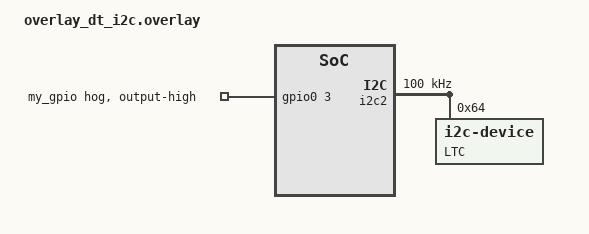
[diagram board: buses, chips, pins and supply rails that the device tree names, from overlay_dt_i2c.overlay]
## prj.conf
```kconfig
#
# Copyright (c) 2022 Nordic Semiconductor ASA
#
# SPDX-License-Identifier: LicenseRef-Nordic-5-Clause
#

# Log level
# For more verbose and detailed log output, set the log level to
# CONFIG_MULTI_SERVICE_LOG_LEVEL_DBG=y instead.
CONFIG_MULTI_SERVICE_LOG_LEVEL_INF=y

# General config
CONFIG_EVENTS=y
CONFIG_PICOLIBC_IO_FLOAT=y
CONFIG_RESET_ON_FATAL_ERROR=y
CONFIG_NCS_SAMPLES_DEFAULTS=y
CONFIG_DK_LIBRARY=y

# LED indication
# Uncomment these to minimize LED state indication when power savings are necessary
# CONFIG_LED_VERBOSE_INDICATION=n
# CONFIG_LED_CONTINUOUS_INDICATION=n

# Or, uncomment this to completely disable LED state indication
# CONFIG_LED_INDICATION_DISABLED=y

# Improved Logging
# CONFIG_LOG_MODE_DEFERRED allows logging from multiple threads simultaneously without creating
# splintered log entries, at the cost of needing a buffer for storing logs.
CONFIG_LOG_MODE_DEFERRED=y

# CONFIG_LOG_BUFFER_SIZE is the aforementioned buffer. A size of 4096 bytes is useful for debugging
# and prototyping, but is probably more than necessary for production-ready firmware.
CONFIG_LOG_BUFFER_SIZE=1024

# Heap and stacks
# Extended AT host/monitor stack/heap sizes since some nrf_cloud credentials are longer than 1024 bytes.
CONFIG_AT_MONITOR_HEAP_SIZE=2048
CONFIG_AT_HOST_STACK_SIZE=2048
# Extended memory heap size needed both for PGPS and for encoding JSON-based nRF Cloud Device Messages.
CONFIG_HEAP_MEM_POOL_SIZE=19000
CONFIG_SYSTEM_WORKQUEUE_STACK_SIZE=4096
# The default modem shared memory buffer for TX is significantly larger than required.
# RX buffer has to be larger because the sample reads certificates so using default value.
# CONFIG_NRF_MODEM_LIB_SHMEM_TX_SIZE=4096
CONFIG_NRF_MODEM_LIB_SHMEM_TX_SIZE=1024

# Enable Networking and Connection Manager.
CONFIG_NETWORKING=y
CONFIG_NET_SOCKETS=y
CONFIG_NET_SOCKETS_OFFLOAD=y
CONFIG_NET_MGMT_EVENT_STACK_SIZE=1024
CONFIG_NET_CONNECTION_MANAGER_MONITOR_STACK_SIZE=1024
CONFIG_MAIN_STACK_SIZE=2048

# Enable LTE Connectivity using Connection Manager
CONFIG_NET_IPV4=y
CONFIG_NET_IPV6=y
CONFIG_NET_IPV6_NBR_CACHE=n
CONFIG_NET_IPV6_MLD=n
CONFIG_NET_CONNECTION_MANAGER=y
CONFIG_NRF_MODEM_LIB_NET_IF=y
CONFIG_NRF_MODEM_LIB_NET_IF_AUTO_DOWN=y
CONFIG_NRF_MODEM_LIB_NET_IF_DOWN_DEFAULT_LTE_DISCONNECT=y

# Enable power savings mode
CONFIG_LTE_PSM_REQ=y
# Set the PSM Requested Active Time to 20 seconds
CONFIG_LTE_PSM_REQ_RAT="00001010"

# Modem library
CONFIG_NRF_MODEM_LIB=y

# AT commands interface
CONFIG_UART_INTERRUPT_DRIVEN=y
CONFIG_AT_HOST_LIBRARY=y

# Wait for credential installation to be complete before connecting to nRF Cloud
CONFIG_NRF_CLOUD_CHECK_CREDENTIALS=y

# nRF Cloud
CONFIG_NRF_CLOUD=y
CONFIG_NRF_CLOUD_MQTT=y # This also enables FOTA by implicitly setting CONFIG_NRF_CLOUD_FOTA=y

# MQTT
CONFIG_MQTT_KEEPALIVE=120

# MCUBOOT - Needed by FOTA
CONFIG_BOOTLOADER_MCUBOOT=y
CONFIG_IMG_MANAGER=y
CONFIG_MCUBOOT_IMG_MANAGER=y
CONFIG_STREAM_FLASH_ERASE=y

# Location Services configuration
CONFIG_LOCATION=y
CONFIG_LOCATION_METHOD_GNSS=y
CONFIG_LOCATION_METHOD_CELLULAR=y
CONFIG_NRF_CLOUD_AGNSS=y
CONFIG_NRF_CLOUD_LOCATION=y
CONFIG_MODEM_INFO=y
CONFIG_MODEM_INFO_ADD_NETWORK=y
CONFIG_NRF_CLOUD_PGPS=y
CONFIG_NRF_CLOUD_PGPS_REPLACEMENT_THRESHOLD=4
CONFIG_NRF_CLOUD_PGPS_REQUEST_UPON_INIT=y

# Date Time lib - Used by PGPS and main application
CONFIG_DATE_TIME=y

# LTE link control - used by PGPS and main application
CONFIG_LTE_LINK_CONTROL=y
CONFIG_LTE_LC_EDRX_MODULE=y
CONFIG_LTE_LC_PSM_MODULE=y

# Settings - used by nRF Cloud library and PGPS
CONFIG_SETTINGS=y
CONFIG_SETTINGS_FCB=y
CONFIG_FCB=y

# Download Client - used by FOTA and PGPS
CONFIG_DOWNLOADER=y
CONFIG_DOWNLOADER_STACK_SIZE=4352
CONFIG_DOWNLOADER_MAX_HOSTNAME_SIZE=128

# Flash - Used by FOTA and PGPS
CONFIG_FLASH=y
CONFIG_FLASH_PAGE_LAYOUT=y
CONFIG_FLASH_MAP=y
CONFIG_STREAM_FLASH=y
CONFIG_MPU_ALLOW_FLASH_WRITE=y
CONFIG_PM_EXTERNAL_FLASH_MCUBOOT_SECONDARY=n
CONFIG_NRF_CLOUD_ALERT=y
CONFIG_NRF_CLOUD_LOG_DIRECT=y
CONFIG_NRF_CLOUD_LOG_OUTPUT_LEVEL=3

# On initial connection to the cloud, add info sections to the shadow
CONFIG_NRF_CLOUD_SEND_DEVICE_STATUS=y
CONFIG_NRF_CLOUD_SEND_DEVICE_STATUS_NETWORK=y
CONFIG_NRF_CLOUD_SEND_DEVICE_STATUS_SIM=y
CONFIG_NRF_CLOUD_SEND_SERVICE_INFO_FOTA=y
CONFIG_NRF_CLOUD_SEND_SERVICE_INFO_UI=y


# Eren configuration
CONFIG_SENSOR_SAMPLE_INTERVAL_SECONDS=120
CONFIG_SERIAL=y
CONFIG_CONSOLE=y
CONFIG_UART_CONSOLE=y

# CONFIG_GPIO=y
# CONFIG_I2C=y

# CONFIG_SHELL=y
# CONFIG_I2C_SHELL=y
```

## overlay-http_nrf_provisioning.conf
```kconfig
#
# Copyright (c) 2023 Nordic Semiconductor ASA
#
# SPDX-License-Identifier: LicenseRef-Nordic-5-Clause
#

# Enable provisioning library/provisioning shell dependencies
CONFIG_MODEM_JWT=y
CONFIG_MODEM_ATTEST_TOKEN=y

# Enable the provisioning library
CONFIG_NRF_PROVISIONING=y
CONFIG_NRF_PROVISIONING_AUTO_INIT=n
CONFIG_NRF_PROVISIONING_HTTP=y

# Enable provisioning shell
CONFIG_SHELL=y
CONFIG_NRF_PROVISIONING_SHELL=y

# Adjust shell buffer sizes to handle nRF Cloud certs
CONFIG_SHELL_BACKEND_SERIAL_RX_RING_BUFFER_SIZE=4096
CONFIG_SHELL_CMD_BUFF_SIZE=4096

# Disable AT host and switch to using shell
CONFIG_AT_HOST_LIBRARY=n
CONFIG_AT_SHELL=y
CONFIG_SHELL_WILDCARD=n

# Configure provisioning message formatting
CONFIG_NRF_PROVISIONING_CODEC=y
CONFIG_NRF_PROVISIONING_CBOR=y
CONFIG_ZCBOR=y
CONFIG_ZCBOR_CANONICAL=y

# Include provisioning service certificate as part of the binary.
# Used only if none has been provisioned
CONFIG_NRF_PROVISIONING_WITH_CERT=y
CONFIG_NRF_PROVISIONING_ROOT_CA_SEC_TAG=50
CONFIG_NRF_CLOUD_CLIENT_ID_SRC_INTERNAL_UUID=y

# Max provisioning commands per response
CONFIG_NRF_PROVISIONING_CBOR_RECORDS=20

# Set the provisioning interval to 60 seconds.
# This is a very frequent interval. To save power, set this to something approaching 24 hours.
# But note that provisioning may take up to twice as long as this interval, since it
# happens in two steps.
CONFIG_NRF_PROVISIONING_INTERVAL_S=60

# Request spread factor
CONFIG_NRF_PROVISIONING_SPREAD_S=5

# Adjust provisioning and buffer sizes to handle nRF Cloud certs
# defaults: 4096
CONFIG_NRF_PROVISIONING_RX_BUF_SZ=2048
CONFIG_NRF_PROVISIONING_TX_BUF_SZ=2048
CONFIG_NRF_PROVISIONING_CODEC_AT_CMD_LEN=2048
CONFIG_NRF_PROVISIONING_CODEC_RX_SZ_START=2048
```

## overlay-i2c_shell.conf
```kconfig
CONFIG_GPIO=y
CONFIG_I2C=y

CONFIG_SHELL=y
CONFIG_I2C_SHELL=y

# From chatGPT
CONFIG_I2C_LOG_LEVEL_DBG=y

# From nRF provision overlay

# Adjust shell buffer sizes to handle nRF Cloud certs
CONFIG_SHELL_BACKEND_SERIAL_RX_RING_BUFFER_SIZE=4096
CONFIG_SHELL_CMD_BUFF_SIZE=4096

# Disable AT host and switch to using shell
CONFIG_AT_HOST_LIBRARY=n
CONFIG_AT_SHELL=y
CONFIG_SHELL_WILDCARD=n
```

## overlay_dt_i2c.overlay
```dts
&i2c2 {
    compatible = "nordic,nrf-twim";
    status = "okay";
    clock-frequency = <I2C_BITRATE_STANDARD>;

    pinctrl-0 = <&i2c2_default>;
    pinctrl-1 = <&i2c2_sleep>;
    pinctrl-names = "default", "sleep";

	ltc2941: ltc2941@64 {
		compatible = "i2c-device";
		reg = <0x64>;
		label = "LTC";
	};
};

&gpio0 {
	status = "okay";
	/* Use PORT event rather than GPIOTE IN event, to save power */
	sense-edge-mask = <0xffffffff>;
	/* Load switch controlling 3.3V supply and I/O voltage for external boards */
	my_gpio: my_gpio {
		gpio-hog;
		output-high;
		gpios = <3 GPIO_ACTIVE_HIGH>;
	};	

	exp_board_enable: exp_board_enable {
		status = "disabled";
	};

};
```

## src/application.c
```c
/* Copyright (c) 2023 Nordic Semiconductor ASA
 *
 * SPDX-License-Identifier: LicenseRef-Nordic-5-Clause
 */

#include <zephyr/kernel.h>
#include <zephyr/logging/log.h>
#include <zephyr/logging/log_ctrl.h>
#include <helpers/nrfx_reset_reason.h>
#include <date_time.h>
#include <stdio.h>
#include <net/nrf_cloud.h>
#include <net/nrf_cloud_codec.h>
#include <net/nrf_cloud_log.h>
#include <net/nrf_cloud_alert.h>
#if defined(CONFIG_NRF_CLOUD_COAP)
#include <net/nrf_cloud_coap.h>
#endif
#if defined(CONFIG_LOCATION_TRACKING)
#include <modem/location.h>
#include "location_tracking.h"
#endif
#include <dk_buttons_and_leds.h>
#include "application.h"
#include "temperature.h"
#include "cloud_connection.h"
#include "message_queue.h"
#include "led_control.h"
#include "at_commands.h"
#include "shadow_config.h"

#include <zephyr/devicetree.h>
#include <zephyr/drivers/gpio.h>

LOG_MODULE_REGISTER(application, CONFIG_MULTI_SERVICE_LOG_LEVEL);

/* Timer used to time the sensor sampling rate. */
static K_TIMER_DEFINE(sensor_sample_timer, NULL, NULL);

/* AT command request error handling */
#define AT_CMD_REQUEST_ERR_FORMAT "Error while processing AT command request: %d"
#define AT_CMD_REQUEST_ERR_MAX_LEN (sizeof(AT_CMD_REQUEST_ERR_FORMAT) + 20)
BUILD_ASSERT(CONFIG_AT_CMD_REQUEST_RESPONSE_BUFFER_LENGTH >= AT_CMD_REQUEST_ERR_MAX_LEN,
	     "Not enough AT command response buffer for printing error events.");

/* Temperature alert limits. */
#define TEMP_ALERT_LIMIT ((double)CONFIG_TEMP_ALERT_LIMIT)
#define TEMP_ALERT_HYSTERESIS 1.5
#define TEMP_ALERT_LOWER_LIMIT (TEMP_ALERT_LIMIT - TEMP_ALERT_HYSTERESIS)


// GPIO EXP_BRD_CTRL Configuration
// #define EXP_BRD_ENABLE		DT_NODELABEL(exp_board_enable)
// static const struct gpio_dt_spec exp_brd_ctrl = GPIO_DT_SPEC_GET(EXP_BRD_ENABLE, gpios);



/* State of the test counter. This can be changed using the configuration in the shadow */
static bool test_counter_enabled;

/**
 * @brief Construct a device message object with automatically generated timestamp
 *
 * The resultant JSON object will be conformal to the General Message Schema described in the
 * application-protocols repo:
 *
 * https://github.com/nRFCloud/application-protocols
 *
 * @param msg - The object to contain the message
 * @param appid - The appId for the device message
 * @param msg_type - The messageType for the device message
 * @return int - 0 on success, negative error code otherwise.
 */
static int create_timestamped_device_message(struct nrf_cloud_obj *const msg,
					     const char *const appid,
					     const char *const msg_type)
{
	int err;
	int64_t timestamp;

	/* Acquire timestamp */
	err = date_time_now(&timestamp);
	if (err) {
		LOG_ERR("Failed to obtain current time, error %d", err);
		return -ETIME;
	}

	/* Create message object */
	err = nrf_cloud_obj_msg_init(msg, appid,
				     IS_ENABLED(CONFIG_NRF_CLOUD_COAP) ? NULL : msg_type);
	if (err) {
		LOG_ERR("Failed to initialize message with appid %s and msg type %s",
			appid, msg_type);
		return err;
	}

	/* Add timestamp to message object */
	err = nrf_cloud_obj_ts_add(msg, timestamp);
	if (err) {
		LOG_ERR("Failed to add timestamp to data message with appid %s and msg type %s",
			appid, msg_type);
		nrf_cloud_obj_free(msg);
		return err;
	}

	return 0;
}

/**
 * @brief Transmit a collected sensor sample to nRF Cloud.
 *
 * @param sensor - The name of the sensor which was sampled.
 * @param value - The sampled sensor value.
 * @return int - 0 on success, negative error code otherwise.
 */
static int send_sensor_sample(const char *const sensor, double value)
{
	int ret;

	MSG_OBJ_DEFINE(msg_obj);

	/* Create a timestamped message container object for the sensor sample. */
	ret = create_timestamped_device_message(&msg_obj, sensor,
						NRF_CLOUD_JSON_MSG_TYPE_VAL_DATA);
	if (ret) {
		return -EINVAL;
	}

	/* Populate the container object with the sensor value. */
	// ret = nrf_cloud_obj_num_add(&msg_obj, NRF_CLOUD_JSON_DATA_KEY, value, false);
	ret = nrf_cloud_obj_num_add(&msg_obj, "key_temp", value, true);
	if (ret) {
		LOG_ERR("Failed to append value to %s sample container object ",
			sensor);
		nrf_cloud_obj_free(&msg_obj);
		return -ENOMEM;
	}
	ret = nrf_cloud_obj_num_add(&msg_obj, "key_test", 69, true);
	if (ret) {
		LOG_ERR("Failed to append value to %s sample container object ",
			sensor);
		nrf_cloud_obj_free(&msg_obj);
		return -ENOMEM;
	}

	/* Send the sensor sample container object as a device message. */
	return send_device_message(&msg_obj);
}

#if defined(CONFIG_LOCATION_TRACKING)
/**
 * @brief Transmit a collected GNSS sample to nRF Cloud.
 *
 * @param loc_gnss - GNSS location data.
 * @return int - 0 on success, negative error code otherwise.
 */
static int send_gnss(const struct location_event_data * const loc_gnss)
{
	int ret;

	if (!loc_gnss || (loc_gnss->method != LOCATION_METHOD_GNSS)) {
		return -EINVAL;
	}

	struct nrf_cloud_gnss_data gnss_pvt = {
		.type = NRF_CLOUD_GNSS_TYPE_PVT,
		.ts_ms = NRF_CLOUD_NO_TIMESTAMP,
		.pvt = {
			.lon		= loc_gnss->location.longitude,
			.lat		= loc_gnss->location.latitude,
			.accuracy	= loc_gnss->location.accuracy,
			.has_alt	= 0,
			.has_speed	= 0,
			.has_heading	= 0
		}
	};
	MSG_OBJ_DEFINE(msg_obj);

	/* Add the timestamp */
	(void)date_time_now(&gnss_pvt.ts_ms);

	/* Encode the location data into a device message */
	ret = nrf_cloud_obj_gnss_msg_create(&msg_obj, &gnss_pvt);

	if (ret == 0) {
		/* Send the location message */
		ret = send_device_message(&msg_obj);
	}

	return ret;
}

/**
 * @brief Callback to receive periodic location updates from location_tracking.c and forward them
 * to nRF Cloud.
 *
 * Note that cellular positioning (MCELL/Multi-Cell and SCELL/Single-Cell) is sent to nRF
 * Cloud automatically (since the Location library and nRF Cloud must work together to
 * determine them in the first place). GNSS positions, on the other hand, must be
 * sent manually, since they are determined entirely on-device.
 *
 * @param location_data - The received location update.
 *
 */
static void on_location_update(const struct location_event_data * const location_data)
{
	LOG_INF("Location Updated: %.06f N %.06f W, accuracy: %.01f m, Method: %s",
		location_data->location.latitude,
		location_data->location.longitude,
		(double)location_data->location.accuracy,
		location_method_str(location_data->method));

	/* If the position update was derived using GNSS, send it onward to nRF Cloud. */
	if (location_data->method == LOCATION_METHOD_GNSS) {
		LOG_INF("GNSS Position Update! Sending to nRF Cloud...");
		send_gnss(location_data);
	}
}
#endif /* CONFIG_LOCATION_TRACKING */

/**
 * @brief Receives general device messages from nRF Cloud, checks if they are AT command requests,
 * and performs them if so, transmitting the modem response back to nRF Cloud.
 *
 * Try sending {"appId":"MODEM", "messageType":"CMD", "data":"AT+CGMR"}
 * in the nRF Cloud Portal Terminal card.
 *
 * @param msg - The device message to check.
 */
static void handle_at_cmd_requests(const struct nrf_cloud_data *const dev_msg)
{
	char *cmd;
	NRF_CLOUD_OBJ_DEFINE(msg_obj, NRF_CLOUD_OBJ_TYPE__UNDEFINED);
	int err = nrf_cloud_obj_input_decode(&msg_obj, dev_msg);

	if (err) {
		/* The message isn't JSON or otherwise couldn't be parsed. */
		LOG_DBG("A general topic device message of length %d could not be parsed.",
			dev_msg->len);
		return;
	}

	/* Confirm app ID and message type */
	err = nrf_cloud_obj_msg_check(&msg_obj, NRF_CLOUD_JSON_APPID_VAL_MODEM,
				      NRF_CLOUD_JSON_MSG_TYPE_VAL_CMD);
	if (err) {
		goto cleanup;
	}

	/* Get the command string */
	err = nrf_cloud_obj_str_get(&msg_obj, NRF_CLOUD_JSON_DATA_KEY, &cmd);
	if (err) {
		/* Missing or invalid command value will be treated as a blank command */
		cmd = "";
	}

	/* Execute the command and receive the result */
	char *response = execute_at_cmd_request(cmd);

	/* To re-use msg_obj for the response message we must first free its memory and
	 * reset its state.
	 * The cmd string will no longer be valid after msg_obj is freed.
	 */
	cmd = NULL;
	/* Free the object's allocated memory */
	err = nrf_cloud_obj_free(&msg_obj);
	if (err) {
		LOG_ERR("Failed to free AT CMD request");
		return;
	}

	/* Reset the object's state */
	err = nrf_cloud_obj_reset(&msg_obj);
	if (err) {
		LOG_ERR("Failed to reset AT CMD request message object for reuse");
		return;
	}

	err = create_timestamped_device_message(&msg_obj, NRF_CLOUD_JSON_APPID_VAL_MODEM,
						NRF_CLOUD_JSON_MSG_TYPE_VAL_DATA);
	if (err) {
		return;
	}

	/* Populate response with command result */
	err = nrf_cloud_obj_str_add(&msg_obj, NRF_CLOUD_JSON_DATA_KEY, response, false);
	if (err) {
		LOG_ERR("Failed to populate AT CMD response with modem response data");
		goto cleanup;
	}

	/* Send the response */
	err = send_device_message(&msg_obj);
	if (err) {
		LOG_ERR("Failed to send AT CMD request response, error: %d", err);
	}

	return;

cleanup:
	(void)nrf_cloud_obj_free(&msg_obj);
}

/** @brief Check whether temperature is acceptable.
 * If the device exceeds a temperature limit, send the temperature alert one time.
 * Once the temperature falls below a lower limit, re-enable the temperature alert
 * so it will be sent if limit is exceeded again.
 *
 * The difference between the two limits should be sufficient to prevent sending
 * new alerts if the temperature value oscillates between two nearby values.
 *
 * @param temp - The current device temperature.
 */
static void monitor_temperature(double temp)
{
	static bool temperature_alert_active;

	if ((temp > TEMP_ALERT_LIMIT) && !temperature_alert_active) {
		temperature_alert_active = true;
		(void)nrf_cloud_alert_send(ALERT_TYPE_TEMPERATURE, (float)temp,
					   "Temperature over limit!");
		LOG_INF("Temperature limit %f C exceeded: now %f C.",
			TEMP_ALERT_LIMIT, temp);
	} else if ((temp < TEMP_ALERT_LOWER_LIMIT) && temperature_alert_active) {
		temperature_alert_active = false;
		LOG_INF("Temperature now below limit: %f C.", temp);
	}
}

/** @brief Send an incrementing test counter message to nRF Cloud.
 * If CONFIG_TEST_COUNTER_MULTIPLIER is greater than 1, the counter will be incremented
 * that many times in a row, and a separate test counter message will be sent for each increment.
 */
static void test_counter_send(void)
{
	static int counter;

	for (int i = 0; i < CONFIG_TEST_COUNTER_MULTIPLIER; i++) {
		LOG_INF("Sent test counter = %d", counter);
		(void)send_sensor_sample("COUNT", counter++);
	}
}

static void button_handler(uint32_t button_state, uint32_t has_changed)
{
	if (has_changed & DK_BTN1_MSK) {
		if ((button_state & DK_BTN1_MSK) == DK_BTN1_MSK) {
			LOG_INF("Button pressed");
			(void)nrf_cloud_alert_send(ALERT_TYPE_MSG, 0, "Button pressed");
		}
	}
}

static void print_reset_reason(void)
{
	uint32_t reset_reason;

	reset_reason = nrfx_reset_reason_get();
	LOG_INF("Reset reason: 0x%x", reset_reason);
}

static void report_startup(void)
{
	if (IS_ENABLED(CONFIG_SEND_ONLINE_ALERT)) {
		uint32_t reset_reason;

		reset_reason = nrfx_reset_reason_get();
		nrfx_reset_reason_clear(reset_reason);
		(void)nrf_cloud_alert_send(ALERT_TYPE_DEVICE_NOW_ONLINE, reset_reason, NULL);
	}
}

void main_application_thread_fn(void)
{
	print_reset_reason();

	if (IS_ENABLED(CONFIG_AT_CMD_REQUESTS)) {
		/* Register with connection.c to receive general device messages and check them for
		 * AT command requests.
		 */
		register_general_dev_msg_handler(handle_at_cmd_requests);
	}

	dk_buttons_init(button_handler);

	/* Wait for first connection before starting the application. */
	(void)await_cloud_ready(K_FOREVER);

	report_startup();

	/* Wait for the date and time to become known.
	 * This is needed both for location services and for sensor sample timestamping.
	 */
	LOG_INF("Waiting for modem to determine current date and time");
	if (!await_date_time_known(K_SECONDS(CONFIG_DATE_TIME_ESTABLISHMENT_TIMEOUT_SECONDS))) {
		LOG_WRN("Failed to determine valid date time. Proceeding anyways");
	} else {
		LOG_INF("Current date and time determined");
	}

	const char *protocol = "";

	if (IS_ENABLED(CONFIG_NRF_CLOUD_MQTT)) {
		protocol = "MQTT";
	} else if (IS_ENABLED(CONFIG_NRF_CLOUD_COAP)) {
		protocol = "CoAP";
	}
	nrf_cloud_log_init();
	nrf_cloud_log_control_set(CONFIG_NRF_CLOUD_LOG_OUTPUT_LEVEL);
	/* Send a direct log to the nRF Cloud web portal indicating the sample has started up. */
	(void)nrf_cloud_log_send(LOG_LEVEL_INF,
				 "nRF Cloud multi-service sample has started, "
				 "version: %s, protocol: %s",
				 CONFIG_APP_VERSION, protocol);

#if defined(CONFIG_LOCATION_TRACKING)
	/* Begin tracking location at the configured interval. */
	(void)start_location_tracking(on_location_update,
					CONFIG_LOCATION_TRACKING_SAMPLE_INTERVAL_SECONDS);
#endif

	/* Begin sampling sensors. */
	while (true) {
		/* Start the sensor sample interval timer.
		 * We use a timer here instead of merely sleeping the thread, because the
		 * application thread can be preempted by other threads performing long tasks
		 * (such as periodic location acquisition), and we want to account for these
		 * delays when metering the sample send rate.
		 */
		k_timer_start(&sensor_sample_timer,
			K_SECONDS(CONFIG_SENSOR_SAMPLE_INTERVAL_SECONDS), K_FOREVER);

		if (IS_ENABLED(CONFIG_TEMP_TRACKING)) {
			double temp = -1;

			if (get_temperature(&temp) == 0) {
				LOG_INF("Temperature is %d degrees C", (int)temp);
				// (void)send_sensor_sample(NRF_CLOUD_JSON_APPID_VAL_TEMP, temp);
				(void)send_sensor_sample("RWH_dev", temp);

				monitor_temperature(temp);
			}
		}

		if (test_counter_enable_get()) {
			test_counter_send();
		}

		/* Wait out any remaining time on the sample interval timer. */
		k_timer_status_sync(&sensor_sample_timer);

		/* If cloud stops being ready due to network trouble or device being deleted
		 * from the cloud, turn off sensors and wait, then restart sensors.
		 */
		if (!await_cloud_ready(K_NO_WAIT) && is_device_deleted()) {
#if defined(CONFIG_LOCATION_TRACKING)
			(void)location_request_cancel();
#endif
			LOG_INF("Cloud not ready. Pausing sensors.");
			(void)await_cloud_ready(K_FOREVER);
			LOG_INF("Cloud is ready. Enabling sensors.");
#if defined(CONFIG_LOCATION_TRACKING)
			/* Begin tracking location at the configured interval. */
			(void)start_location_tracking(on_location_update,
						  CONFIG_LOCATION_TRACKING_SAMPLE_INTERVAL_SECONDS);
#endif
		}
	}
}

void test_counter_enable_set(const bool enable)
{
	if (IS_ENABLED(CONFIG_TEST_COUNTER)) {
		LOG_DBG("CONFIG_TEST_COUNTER is enabled, ignoring state change request");
	} else {
		LOG_DBG("Test counter %s", enable ? "enabled" : "disabled");
		test_counter_enabled = enable;
	}
}

bool test_counter_enable_get(void)
{
	/* When CONFIG_TEST_COUNTER is enabled the test counter is always enabled */
	return (test_counter_enabled || IS_ENABLED(CONFIG_TEST_COUNTER));
}
```
